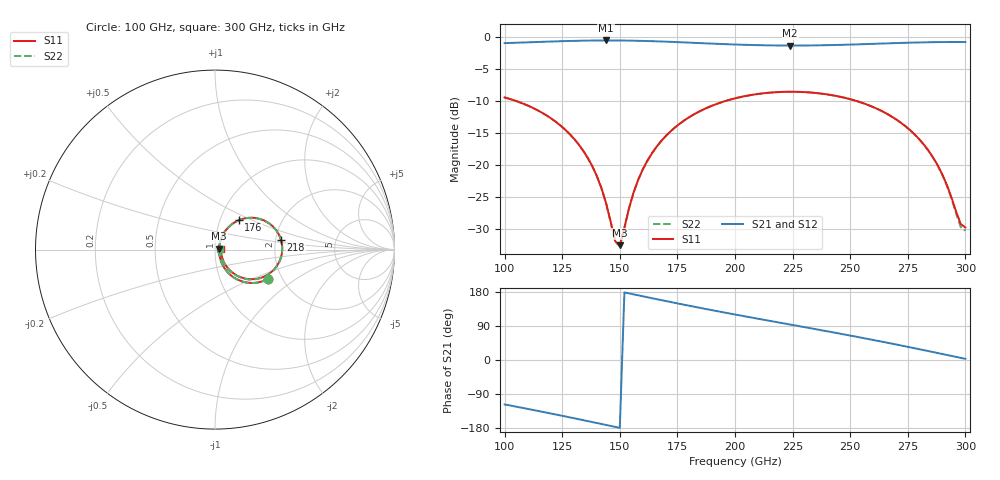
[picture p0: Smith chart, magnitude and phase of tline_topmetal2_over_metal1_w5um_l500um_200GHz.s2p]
#  GHZ S DB R 50
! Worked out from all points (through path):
!   101 points, 100 GHz to 300 GHz, reference 50 ohm
!   highest |S21| = -0.50 dB at 144 GHz (marker M1); lowest = -1.3 dB at 224 GHz (marker M2)
!   group delay of S21, straight-line fit = 3.29 ps
!   lowest |S11| = -32.6 dB at 150 GHz (marker M3), VSWR 1.05, Z = 52.3 + j0.557 ohm
!   |S11| at or under -10 dB: 105.2 GHz to 195.6 GHz (90.37 GHz wide, 60.1 % of centre); 253 GHz to end of sweep
!   |S22| runs from -32.7 to -8.5 dB; largest |S21 - S12| = 1.1e-14
!   S11 on the Smith chart (normalised r, x): 100 GHz: 1.70, -0.62; 176 GHz: 1.23, +0.42; 218 GHz: 2.15, +0.26; 300 GHz: 1.07, +0.01
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100  -9.41 -28.6  -0.92 -117.3  -0.92 -117.3  -9.42 -28.7
120  -12.65 -49.5  -0.67 -141.1  -0.67 -141.1  -12.65 -49.7
134  -17.68 -61.9  -0.53 -158.6  -0.53 -158.6  -17.69 -62.1
140  -21.68 -63.2  -0.51 -166.2  -0.51 -166.2  -21.69 -63.6
144  -25.89 -57.5  -0.50 -171.4  -0.50 -171.4  -25.92 -58.0
148  -31.91 -25.2  -0.50 -176.5  -0.50 -176.5  -32.02 -25.7
150  -32.55 13.0  -0.51 -179.1  -0.51 -179.1  -32.68 13.1
154  -26.74 53.8  -0.53 175.8  -0.53 175.8  -26.77 54.0
158  -22.27 61.3  -0.55 170.7  -0.55 170.7  -22.28 61.4
168  -16.22 58.0  -0.66 158.1  -0.66 158.1  -16.22 58.0
176  -13.52 50.9  -0.77 148.2  -0.77 148.2  -13.52 50.8
200  -9.55 26.5  -1.13 120.1  -1.13 120.1  -9.56 26.3
218  -8.59 8.0  -1.28 100.1  -1.28 100.1  -8.59 7.8
224  -8.52 1.9  -1.29 93.5  -1.29 93.5  -8.53 1.7
234  -8.68 -8.3  -1.27 82.5  -1.27 82.5  -8.68 -8.5
252  -9.89 -26.7  -1.12 62.2  -1.12 62.2  -9.89 -27.0
268  -12.40 -42.7  -0.93 43.2  -0.93 43.2  -12.41 -43.2
278  -15.20 -51.5  -0.83 30.9  -0.83 30.9  -15.22 -52.2
286  -18.81 -55.4  -0.77 20.9  -0.77 20.9  -18.86 -56.4
292  -23.14 -51.5  -0.74 13.3  -0.74 13.3  -23.26 -52.9
298  -29.24 -17.2  -0.74 5.6  -0.74 5.6  -29.70 -18.3
300  -29.75 8.8  -0.75 3.0  -0.75 3.0  -30.25 9.3
